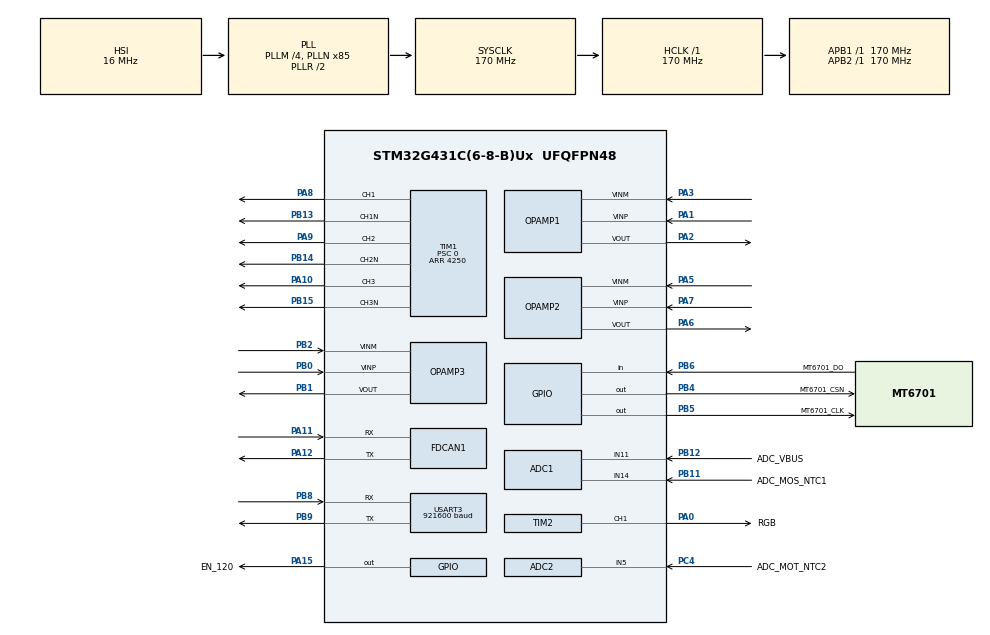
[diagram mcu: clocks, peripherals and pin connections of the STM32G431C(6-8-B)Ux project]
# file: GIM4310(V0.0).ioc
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ADC1.Channel-0\#ChannelRegularConversion=ADC_CHANNEL_11
ADC1.NbrOfConversionFlag=1
ADC1.OffsetNumber-0\#ChannelRegularConversion=ADC_OFFSET_NONE
ADC1.Rank-0\#ChannelRegularConversion=1
ADC1.SamplingTime-0\#ChannelRegularConversion=ADC_SAMPLETIME_2CYCLES_5
ADC1.master=1
ADC2.Channel-0\#ChannelRegularConversion=ADC_CHANNEL_5
ADC2.NbrOfConversionFlag=1
ADC2.OffsetNumber-0\#ChannelRegularConversion=ADC_OFFSET_NONE
ADC2.Rank-0\#ChannelRegularConversion=1
ADC2.SamplingTime-0\#ChannelRegularConversion=ADC_SAMPLETIME_2CYCLES_5
FDCAN1.CalculateBaudRateNominal=1000000
FDCAN1.CalculateTimeBitNominal=170
FDCAN1.CalculateTimeQuantumNominal=5.882352941176471
FDCAN1.FrameFormat=FDCAN_FRAME_CLASSIC
FDCAN1.Mode=FDCAN_MODE_NORMAL
FDCAN1.NominalPrescaler=5
FDCAN1.NominalSyncJumpWidth=4
FDCAN1.NominalTimeSeg1=29
FDCAN1.NominalTimeSeg2=4
Mcu.Family=STM32G4
Mcu.Name=STM32G431C(6-8-B)Ux
Mcu.Package=UFQFPN48
NVIC.PriorityGroup=NVIC_PRIORITYGROUP_4
NVIC.ADC1_2_IRQn=true\:1\:0\:false\:false\:true\:true\:true\:true
NVIC.DMA1_Channel2_IRQn=true\:7\:0\:false\:false\:true\:true\:true\:true
NVIC.DMA1_Channel3_IRQn=true\:8\:0\:false\:false\:true\:true\:true\:true
NVIC.FDCAN1_IT0_IRQn=true\:3\:0\:false\:false\:true\:true\:true\:true
NVIC.USART3_IRQn=true\:6\:0\:false\:false\:true\:true\:true\:true
PA0.GPIO_Label=RGB
PA0.Signal=S_TIM2_CH1
PA1.Mode=Standalone
PA1.Signal=OPAMP1_VINP
PA10.Signal=S_TIM1_CH3
PA11.Mode=FDCAN_Activate
PA11.Signal=FDCAN1_RX
PA12.Mode=FDCAN_Activate
PA12.Signal=FDCAN1_TX
PA13.Mode=Serial_Wire
PA13.Signal=SYS_JTMS-SWDIO
PA14.Mode=Serial_Wire
PA14.Signal=SYS_JTCK-SWCLK
PA15.GPIO_Label=EN_120
PA15.Signal=GPIO_Output
PA2.Mode=Standalone
PA2.Signal=OPAMP1_VOUT
PA3.Mode=Standalone
PA3.Signal=OPAMP1_VINM
PA5.Mode=Standalone
PA5.Signal=OPAMP2_VINM
PA6.Mode=Standalone
PA6.Signal=OPAMP2_VOUT
PA7.Mode=Standalone
PA7.Signal=OPAMP2_VINP
PA8.Signal=S_TIM1_CH1
PA9.Signal=S_TIM1_CH2
PB0.Mode=Standalone
PB0.Signal=OPAMP3_VINP
PB1.Mode=Standalone
PB1.Signal=OPAMP3_VOUT
PB11.GPIO_Label=ADC_MOS_NTC1
PB11.Mode=IN14-Single-Ended
PB11.Signal=ADC1_IN14
PB12.GPIO_Label=ADC_VBUS
PB12.Mode=IN11-Single-Ended
PB12.Signal=ADC1_IN11
PB13.Mode=PWM Generation1 CH1 CH1N
PB13.Signal=TIM1_CH1N
PB14.Mode=PWM Generation2 CH2 CH2N
PB14.Signal=TIM1_CH2N
PB15.Mode=PWM Generation3 CH3 CH3N
PB15.Signal=TIM1_CH3N
PB2.Mode=Standalone
PB2.Signal=OPAMP3_VINM
PB4.GPIO_Label=MT6701_CSN
PB4.Signal=GPIO_Output
PB5.GPIO_Label=MT6701_CLK
PB5.Signal=GPIO_Output
PB6.GPIO_Label=MT6701_DO
PB6.Signal=GPIO_Input
PB8-BOOT0.Mode=Asynchronous
PB8-BOOT0.Signal=USART3_RX
PB9.Mode=Asynchronous
PB9.Signal=USART3_TX
PC4.GPIO_Label=ADC_MOT_NTC2
PC4.Mode=IN5-Single-Ended
PC4.Signal=ADC2_IN5
PF0-OSC_IN.Mode=HSE-External-Oscillator
PF0-OSC_IN.Signal=RCC_OSC_IN
PF1-OSC_OUT.Mode=HSE-External-Oscillator
PF1-OSC_OUT.Signal=RCC_OSC_OUT
ProjectManager.HeapSize=0x200
ProjectManager.StackSize=0x400
ProjectManager.TargetToolchain=MDK-ARM V5.32
RCC.ADC12Freq_Value=170000000
RCC.AHBFreq_Value=170000000
RCC.APB1Freq_Value=170000000
RCC.APB1TimFreq_Value=170000000
RCC.APB2Freq_Value=170000000
RCC.APB2TimFreq_Value=170000000
RCC.CortexFreq_Value=170000000
RCC.EXTERNAL_CLOCK_VALUE=12288000
RCC.HCLKFreq_Value=170000000
RCC.HSE_VALUE=20000000
RCC.HSI48_VALUE=48000000
RCC.HSI_VALUE=16000000
RCC.LSE_VALUE=32768
RCC.PLLM=RCC_PLLM_DIV4
RCC.PLLN=85
RCC.SYSCLKFreq_VALUE=170000000
RCC.SYSCLKSource=RCC_SYSCLKSOURCE_PLLCLK
RCC.USBFreq_Value=170000000
RCC.VCOOutputFreq_Value=340000000
SH.S_TIM1_CH1.0=TIM1_CH1,PWM Generation1 CH1 CH1N
SH.S_TIM1_CH2.0=TIM1_CH2,PWM Generation2 CH2 CH2N
SH.S_TIM1_CH3.0=TIM1_CH3,PWM Generation3 CH3 CH3N
SH.S_TIM2_CH1.0=TIM2_CH1,PWM Generation1 CH1
TIM1.Channel-PWM\ Generation1\ CH1\ CH1N=TIM_CHANNEL_1
TIM1.Channel-PWM\ Generation2\ CH2\ CH2N=TIM_CHANNEL_2
TIM1.Channel-PWM\ Generation3\ CH3\ CH3N=TIM_CHANNEL_3
TIM1.ClockDivision=TIM_CLOCKDIVISION_DIV1
TIM1.CounterMode=TIM_COUNTERMODE_CENTERALIGNED1
TIM1.DeadTime=34
TIM1.Period=4250
TIM1.Prescaler=0
TIM1.RepetitionCounter=0
TIM2.Channel-PWM\ Generation1\ CH1=TIM_CHANNEL_1
TIM2.CounterMode=TIM_COUNTERMODE_UP
TIM2.Period=211
TIM2.Prescaler=0
USART3.BaudRate=921600
USART3.VirtualMode-Asynchronous=VM_ASYNC
VP_SYS_VS_DBSignals.Mode=DisableDeadBatterySignals
board=custom

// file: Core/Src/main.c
/* USER CODE BEGIN Header */
/**
  ******************************************************************************
  * @file           : main.c
  * @brief          : GIM4310 / GIM4305 关节电机控制器 外设自检例程
  ******************************************************************************
  * @attention
  *
  * 本工程为基于伺泰威 GIM4310 / GIM4305 关节电机控制器（STM32G431CBU6）的
  * 外设自检例程，用于上电后逐项验证，并以 VOFA+（JustFloat）为主要观测手段：
  *   - 电流采样（MCU 内部 OPAMP 差分放大，增益 24）
  *   - 母线电压采样
  *   - NTC 温度采样（MOS 管 / 电机绕组）
  *   - 磁编码器角度采样（MT6701，软件 SPI）
  *   - PWM 发波 / MOS 管开通关断
  *   - 串口 VOFA+ 上位机数据（USART3，921600，JustFloat，12 通道）
  *   - RGB 灯颜色控制（WS2812）
  *   - CAN 通讯（含 120R 终端电阻控制）
  *
  * ---------------------------------------------------------------------------
  * VOFA+ JustFloat 通道定义（波特率 921600，无校验，8 数据位，1 停止位）：
  *   ch0  Iu        U 相电流            [A]
  *   ch1  Iv        V 相电流            [A]
  *   ch2  Ibus      母线电流            [A]（低侧采样时刻≈0，仅诊断）
  *   ch3  Vbus      母线电压            [V]
  *   ch4  rotor     转子机械角（单圈）  [deg]
  *   ch5  elec      电角度              [deg]（极对数 14）
  *   ch6  dutyU     U 相高侧占空比      [0~1]
  *   ch7  dutyV     V 相高侧占空比      [0~1]
  *   ch8  dutyW     W 相高侧占空比      [0~1]
  *   ch9  Tmos      MOS 管温度          [C]
  *   ch10 Tmot      电机绕组温度        [C]
  *   ch11 canRxCnt  CAN 接收帧计数      [-]
  *   ch12 Iw        W 相电流（重构）    [A]（Iw = -(Iu+Iv)，三线制）
  *
  * 串口命令（普通终端或 VOFA 的 RAW 发送）：
  *   e  使能开环 PWM（旋转电压矢量）      d  封波
  *   a  循环切换开环幅值 3/6/9/15/25%      f  循环切换开环电频率 0.5/1/2/5Hz
  *   t  切换 CAN 120R 终端                s  立即发送一帧 CAN
  *   c  切换到下一种 RGB 颜色             r  重新标定 ADC 零流偏置
  *   v  切换 VOFA 数据流 / 文本状态模式    ?  立即打印一次状态
  *
  * 输出模式说明（重要）：
  *   - 默认 vofaStreamOn=1：只发送 JustFloat 二进制帧（500Hz），
  *     不输出任何周期性 ASCII 文本，保证 VOFA+ 解析稳定；
  *   - 发送 'v' 后关闭数据流并恢复 1Hz 文本状态打印，便于普通串口终端查看；
  *   - 发送 '?' 会立即插入一段文本，VOFA 波形会短暂跳变，属正常现象。
  ******************************************************************************
  */
/* USER CODE END Header */
#include "main.h"
#include "adc.h"
#include "fdcan.h"
#include "opamp.h"
#include "tim.h"
#include "usart.h"
#include "gpio.h"

/* USER CODE BEGIN Includes */
#include "board_config.h"
#include "bsp_clock.h"
#include "bsp_uart.h"
#include "bsp_vofa.h"
#include "bsp_pwm.h"
#include "bsp_adc.h"
#include "bsp_encoder.h"
#include "bsp_can.h"
#include "bsp_ws2812.h"
#include <math.h>
#include <string.h>
/* USER CODE END Includes */

/* USER CODE BEGIN PTD */
/**
  * @brief CAN 接收信息（便于后台打印/诊断）
  */
typedef struct
{
    uint32_t lastId;        /*!< 最近一帧的标准帧 ID */
    uint8_t  lastData[8];   /*!< 最近一帧数据 */
    uint8_t  lastLen;       /*!< 最近一帧长度 */
    uint32_t count;         /*!< 累计接收帧数（回调内自增） */
} CanRxInfoTypeDef;
/* USER CODE END PTD */

/* USER CODE BEGIN PD */
#define TEST_PI                 (3.14159265358979f)
#define TEST_TWO_PI             (6.28318530717959f)

#define TEST_OPENLOOP_HZ_IDX0   (0.5f)   /*!< 开环电频率档位 0 */
#define TEST_OPENLOOP_HZ_IDX1   (1.0f)   /*!< 开环电频率档位 1 */
#define TEST_OPENLOOP_HZ_IDX2   (2.0f)   /*!< 开环电频率档位 2 */
#define TEST_OPENLOOP_HZ_IDX3   (5.0f)   /*!< 开环电频率档位 3 */
/* 开环幅值档位：幅值越大 -> 相电压越高 -> 电流越大，便于用 VOFA 观察电流采样。
   25% 对应相电压约 0.25×Vbus（12V 时约 3V），注意电机温升与电源限流。 */
#define TEST_OPENLOOP_AMP_NUM   (5U)     /*!< 幅值档位数量 */
#define TEST_OPENLOOP_AMP_IDX0  (0.03f)  /*!< 档位 0：3%  占空比 */
#define TEST_OPENLOOP_AMP_IDX1  (0.06f)  /*!< 档位 1：6% */
#define TEST_OPENLOOP_AMP_IDX2  (0.09f)  /*!< 档位 2：9% */
#define TEST_OPENLOOP_AMP_IDX3  (0.15f)  /*!< 档位 3：15% */
#define TEST_OPENLOOP_AMP_IDX4  (0.25f)  /*!< 档位 4：25%（最大） */

#define TEST_VOFA_PERIOD_MS     (2U)     /*!< VOFA 上报周期（500Hz） */
#define TEST_TEMP_PERIOD_MS     (100U)   /*!< NTC 温度轮询周期（10Hz） */
#define TEST_STATUS_PERIOD_MS   (1000U)  /*!< 串口状态打印周期（1Hz） */
#define TEST_CAN_PERIOD_MS      (200U)   /*!< CAN 周期发送周期（5Hz） */
#define TEST_LED_PERIOD_MS      (700U)   /*!< RGB 颜色切换周期 */
/* USER CODE END PD */

/* USER CODE BEGIN PV */
static ENC_DataTypeDef    encData;       /*!< 编码器运行数据（单圈/多圈/状态） */
static ADC_FocMeasTypeDef adcMeas;       /*!< 最近一次电流/母线电压换算结果 */
static volatile CanRxInfoTypeDef canRx;  /*!< CAN 接收信息（ISR 更新） */

static uint8_t  openLoopOn = 0U;         /*!< 开环 PWM 测试使能 */
static uint8_t  vofaStreamOn = 1U;       /*!< VOFA 数据流使能（1=只发 JustFloat，0=发 1Hz 文本） */
static uint8_t  ledIndex   = 0U;         /*!< 当前灯色序号（0=绿） */
static uint8_t  ampIndex   = 1U;         /*!< 开环幅值档位（默认 6%） */
static uint8_t  freqIndex  = 1U;         /*!< 开环频率档位（默认 1Hz） */
static uint16_t canSeq     = 0U;         /*!< CAN 发送序号 */
static float    elecAngle  = 0.0f;       /*!< 开环电角度积分 [rad] */
static float    dutyU      = 0.0f;       /*!< 当前 U 相占空比（供 VOFA 观测） */
static float    dutyV      = 0.0f;       /*!< 当前 V 相占空比 */
static float    dutyW      = 0.0f;       /*!< 当前 W 相占空比 */
static float    tmosC      = 0.0f;       /*!< MOS 温度缓存 [C] */
static float    tmotC      = 0.0f;       /*!< 电机温度缓存 [C] */

static uint32_t lastVofaTick   = 0U;
static uint32_t lastTempTick   = 0U;
static uint32_t lastStatusTick = 0U;
static uint32_t lastCanTick    = 0U;
static uint32_t lastLedTick    = 0U;
/* USER CODE END PV */

void SystemClock_Config(void);
/* USER CODE BEGIN PFP */
static void APP_Init(void);
static void APP_Loop(void);
static void APP_HandleCommand(uint8_t cmd);
static void APP_SetLedByIndex(uint8_t idx);
static void APP_CanRxCallback(uint32_t id, const uint8_t *data, uint8_t len);
static void APP_UpdateTemps(void);
static void APP_ReportVofa(void);
static void APP_PrintStatus(void);
static float APP_OpenLoopAmp(void);
static float APP_OpenLoopFreq(void);
/* USER CODE END PFP */

/* USER CODE BEGIN 0 */

/**
  * @brief  读取当前开环幅值档位对应的占空比幅值
  */
static float APP_OpenLoopAmp(void)
{
    switch (ampIndex)
    {
        case 0U:  return TEST_OPENLOOP_AMP_IDX0;
        case 2U:  return TEST_OPENLOOP_AMP_IDX2;
        case 3U:  return TEST_OPENLOOP_AMP_IDX3;
        case 4U:  return TEST_OPENLOOP_AMP_IDX4;
        default:  return TEST_OPENLOOP_AMP_IDX1;
    }
}

/**
  * @brief  读取当前开环电频率档位对应的频率 [Hz]
  */
static float APP_OpenLoopFreq(void)
{
    switch (freqIndex)
    {
        case 0U:  return TEST_OPENLOOP_HZ_IDX0;
        case 2U:  return TEST_OPENLOOP_HZ_IDX2;
        case 3U:  return TEST_OPENLOOP_HZ_IDX3;
        default:  return TEST_OPENLOOP_HZ_IDX1;
    }
}

/**
  * @brief  CAN 接收回调（ISR 上下文）：记录最近一帧
  * @note   仅做轻量拷贝，不在此处做任何阻塞或打印。
  */
static void APP_CanRxCallback(uint32_t id, const uint8_t *data, uint8_t len)
{
    uint8_t i;

    canRx.lastId  = id;
    canRx.lastLen = (len > 8U) ? 8U : len;
    for (i = 0U; i < canRx.lastLen; i++)
    {
        canRx.lastData[i] = data[i];
    }
    canRx.count++;
}

/**
  * @brief  设置 RGB 灯色（循环色表：绿/红/蓝/白/黄/青/紫/灭）
  * @note   初始化完成默认绿色，便于一眼确认固件已运行。
  */
static void APP_SetLedByIndex(uint8_t idx)
{
    switch (idx % 8U)
    {
        case 0U: BSP_WS2812_SetColor(0U,   255U, 0U);   break;  /* 绿（默认） */
        case 1U: BSP_WS2812_SetColor(255U, 0U,   0U);   break;  /* 红 */
        case 2U: BSP_WS2812_SetColor(0U,   0U,   255U); break;  /* 蓝 */
        case 3U: BSP_WS2812_SetColor(255U, 255U, 255U); break;  /* 白 */
        case 4U: BSP_WS2812_SetColor(255U, 128U, 0U);   break;  /* 黄 */
        case 5U: BSP_WS2812_SetColor(0U,   255U, 255U); break;  /* 青 */
        case 6U: BSP_WS2812_SetColor(128U, 0U,   255U); break;  /* 紫 */
        default: BSP_WS2812_SetColor(0U,   0U,   0U);   break;  /* 灭 */
    }
}

/**
  * @brief  串口命令处理
  * @param  cmd 接收到的单字节命令
  */
static void APP_HandleCommand(uint8_t cmd)
{
    switch (cmd)
    {
        case 'e':
        case 'E':
            openLoopOn = 1U;
            BSP_PWM_Enable();
            BSP_UART_Printf("[CMD] PWM open-loop ENABLED (amp=%u%%, f=%.1fHz)\r\n",
                            (unsigned)(APP_OpenLoopAmp() * 100.0f), (double)APP_OpenLoopFreq());
            break;
        case 'd':
        case 'D':
            openLoopOn = 0U;
            dutyU = dutyV = dutyW = 0.0f;
            BSP_PWM_Disable();
            BSP_UART_Printf("[CMD] PWM DISABLED (MOE=0)\r\n");
            break;
        case 'a':
        case 'A':
            ampIndex = (uint8_t)((ampIndex + 1U) % TEST_OPENLOOP_AMP_NUM);
            BSP_UART_Printf("[CMD] open-loop amplitude = %u%%\r\n",
                            (unsigned)(APP_OpenLoopAmp() * 100.0f));
            break;
        case 'f':
        case 'F':
            freqIndex = (uint8_t)((freqIndex + 1U) % 4U);
            BSP_UART_Printf("[CMD] open-loop freq = %.1f Hz\r\n", (double)APP_OpenLoopFreq());
            break;
        case 't':
        case 'T':
            BSP_CAN_SetTermination((uint8_t)(BSP_CAN_GetTermination() ? 0U : 1U));
            BSP_UART_Printf("[CMD] CAN 120R termination = %u\r\n", BSP_CAN_GetTermination());
            break;
        case 's':
        case 'S':
        {
            uint8_t payload[8];
            payload[0] = 0x55U;
            payload[1] = 0xAAU;
            payload[2] = (uint8_t)canSeq;
            payload[3] = (uint8_t)(canSeq >> 8);
            payload[4] = 0U;
            payload[5] = 0U;
            payload[6] = 0U;
            payload[7] = 0U;
            (void)BSP_CAN_Send(BOARD_CAN_DEFAULT_NODE_ID, payload, 8U);
            BSP_UART_Printf("[CMD] CAN frame sent\r\n");
            break;
        }
        case 'c':
        case 'C':
            ledIndex++;
            APP_SetLedByIndex(ledIndex);
            BSP_UART_Printf("[CMD] RGB index = %u\r\n", ledIndex);
            break;
        case 'r':
        case 'R':
            /* 零点标定必须在封波、无电流条件下进行，否则会把运行电流误当作偏置 */
            if (BSP_PWM_IsEnabled() != 0U)
            {
                BSP_UART_Printf("[CMD] ADC offset re-cal rejected: disable PWM first (send 'd')\r\n");
            }
            else if (BSP_ADC_MeasureOffsets(256U) == HAL_OK)
            {
                float offU;
                float offV;
                float offBus;
                BSP_ADC_GetOffsets(&offU, &offV, &offBus);
                BSP_UART_Printf("[CMD] ADC offsets re-calibrated: Iu=%.0f Iv=%.0f Ibus=%.0f\r\n",
                                (double)offU, (double)offV, (double)offBus);
            }
            else
            {
                BSP_UART_Printf("[CMD] ADC offset re-cal FAILED (check bridges off)\r\n");
            }
            break;
        case 'v':
        case 'V':
            vofaStreamOn = (uint8_t)((vofaStreamOn != 0U) ? 0U : 1U);
            if (vofaStreamOn == 0U)
            {
                /* 关闭数据流后才打印文本，避免污染 JustFloat 帧 */
                BSP_UART_Printf("[CMD] VOFA stream OFF, text status 1Hz ON\r\n");
            }
            break;
        case '?':
            APP_PrintStatus();
            break;
        default:
            break;
    }
}

/**
  * @brief  轮询读取两路 NTC 温度并缓存（低频调用，避免占用 500Hz 上报带宽）
  */
static void APP_UpdateTemps(void)
{
    tmosC = BSP_ADC_ReadMosTemp();
    tmotC = BSP_ADC_ReadMotorTemp();
}

/**
  * @brief  填充并发送一帧 VOFA+ JustFloat 数据（12 通道，见文件头注释）
  */
static void APP_ReportVofa(void)
{
    float rotorDeg;
    float elecDeg;

    /* 电流/母线电压：由 ADC 注入组 ISR 更新 */
    BSP_ADC_GetLastMeas(&adcMeas);

    /* 机械角（单圈）与电角度 */
    rotorDeg = (float)encData.Raw * 360.0f / (float)ENC_CPR;
    elecDeg  = fmodf(rotorDeg * 14.0f, 360.0f);   /* 极对数 14 */

    BSP_VOFA_SetChannel(0U,  adcMeas.Iu);
    BSP_VOFA_SetChannel(1U,  adcMeas.Iv);
    BSP_VOFA_SetChannel(2U,  adcMeas.Ibus);
    BSP_VOFA_SetChannel(3U,  adcMeas.Vbus);
    BSP_VOFA_SetChannel(4U,  rotorDeg);
    BSP_VOFA_SetChannel(5U,  elecDeg);
    BSP_VOFA_SetChannel(6U,  dutyU);
    BSP_VOFA_SetChannel(7U,  dutyV);
    BSP_VOFA_SetChannel(8U,  dutyW);
    BSP_VOFA_SetChannel(9U,  tmosC);
    BSP_VOFA_SetChannel(10U, tmotC);
    BSP_VOFA_SetChannel(11U, (float)BSP_CAN_GetRxCount());
    BSP_VOFA_SetChannel(12U, adcMeas.Iw);   /* W 相电流（由 Iu+Iv 重构） */

    BSP_VOFA_Send();
}

/**
  * @brief  串口打印一次完整状态（也用于排查初始化是否成功）
  */
static void APP_PrintStatus(void)
{
    float offU;
    float offV;
    float offBus;

    BSP_ADC_GetLastMeas(&adcMeas);
    BSP_ADC_GetOffsets(&offU, &offV, &offBus);

    BSP_UART_Printf("\r\n===== GIM4310/4305 DEMO STATUS =====\r\n");
    BSP_UART_Printf("clock        : %s\r\n", BSP_CLOCK_IsHse() ? "HSE 20MHz" : "HSI 16MHz");
    BSP_UART_Printf("adc offset   : Iu=%.0f Iv=%.0f Ibus=%.0f [LSB] (mid-scale=2048)\r\n",
                    (double)offU, (double)offV, (double)offBus);
    BSP_UART_Printf("adc raw      : U=%u IBUS=%u VBUS=%u V=%u [LSB]\r\n",
                    (unsigned)adcMeas.RawU, (unsigned)adcMeas.RawIbus,
                    (unsigned)adcMeas.RawVbus, (unsigned)adcMeas.RawV);
    BSP_UART_Printf("current      : Iu=%+.3f Iv=%+.3f Iw=%+.3f Ibus=%+.3f A (sat=%u)\r\n",
                    (double)adcMeas.Iu, (double)adcMeas.Iv, (double)adcMeas.Iw,
                    (double)adcMeas.Ibus, adcMeas.CurSat);
    BSP_UART_Printf("vbus         : %.2f V\r\n", (double)adcMeas.Vbus);

    /* 电流采样前端体检：零流偏置应约等于半量程(2048)。
       若明显贴近某一轨（<500 或 >3600），说明运放零流输出已饱和，
       常见原因是差分放大器的偏置网络阻值不匹配
       （要求 R40‖R41 = 反馈电阻 R39，实物 R40=R41=10k 时并联仅 5k，
        正确应约 47k~48k）。此时电流读数会恒≈0，需硬件整改。 */
    if ((offU < 500.0f) || (offU > 3600.0f) ||
        (offV < 500.0f) || (offV > 3600.0f))
    {
        BSP_UART_Printf("[WARN] CSA zero-current offset near rail -> "
                        "current sampling saturated; check bias resistors R40/R41 (should be ~47k)\r\n");
    }
    BSP_UART_Printf("temp         : MOS=%.1f C  MOTOR=%.1f C\r\n", (double)tmosC, (double)tmotC);
    BSP_UART_Printf("encoder      : raw=%u turns=%ld status=%d crc_err=%lu field_err=%lu\r\n",
                    encData.Raw, (long)encData.Turns, (int)encData.Status,
                    (unsigned long)encData.CrcErrCnt, (unsigned long)encData.FieldErrCnt);
    BSP_UART_Printf("pwm          : %s  duties=%.2f/%.2f/%.2f\r\n",
                    BSP_PWM_IsEnabled() ? "ENABLED" : "disabled",
                    (double)dutyU, (double)dutyV, (double)dutyW);
    BSP_UART_Printf("can          : rx=%lu err=%lu term=%u lastId=0x%03lX\r\n",
                    (unsigned long)BSP_CAN_GetRxCount(), (unsigned long)BSP_CAN_GetErrCount(),
                    BSP_CAN_GetTermination(), (unsigned long)canRx.lastId);
    BSP_UART_Printf("foc irq cnt  : %lu\r\n", (unsigned long)BSP_ADC_GetIrqCount());
    BSP_UART_Printf("cmd: e/d/a/f/t/s/c/r/v/?  (v=VOFA stream on/off)\r\n");
}

/**
  * @brief  应用初始化：按依赖顺序初始化各外设 BSP
  * @note   CubeMX 的 MX_*_Init 已完成外设时钟/引脚，本函数负责“板级真实参数”重配。
  */
static void APP_Init(void)
{
    /* 1) 时钟切换到板载 20MHz 晶振（提升 CAN 位时序精度；失败自动回退 HSI） */
    (void)BSP_CLOCK_SwitchToHse();

    /* 2) 调试串口 921600 + VOFA 数据帧 */
    BSP_UART_Init();
    BSP_VOFA_Init();
    BSP_UART_Printf("\r\n\r\n*** GIM4310/4305 peripheral self-test DEMO ***\r\n");
    BSP_UART_Printf("SYSCLK=%lu Hz, source=%s\r\n",
                    (unsigned long)HAL_RCC_GetHCLKFreq(),
                    BSP_CLOCK_IsHse() ? "HSE" : "HSI");
    /* 串口自检信息：正常时 BRR 应与 170MHz/921600 匹配（约 0x0B87）。
       若此处乱码，说明终端波特率不是 921600。 */
    BSP_UART_Printf("USART3: %lu bps, BRR=0x%04lX, JustFloat 12ch\r\n",
                    (unsigned long)huart3.Init.BaudRate,
                    (unsigned long)(huart3.Instance->BRR & 0xFFFFU));
    BSP_UART_Printf(">>> VOFA streaming ON (text muted). Send 'v' to switch to text mode.\r\n");

    /* 3) PWM：先让 TIM1 计数器运行（为 ADC 提供 TRGO2 触发），输出保持封波 */
    BSP_PWM_Init();

    /* 4) ADC + 内部运放电流采样 + NTC/母线电压；随后标定零流偏置 */
    BSP_ADC_Init();
    {
        /* 无论返回成功与否都把实测偏置打印出来（便于诊断前端电路） */
        uint8_t offOk = (BSP_ADC_MeasureOffsets(256U) == HAL_OK) ? 1U : 0U;
        float offU;
        float offV;
        float offBus;
        BSP_ADC_GetOffsets(&offU, &offV, &offBus);
        BSP_UART_Printf("ADC zero offset: Iu=%.0f Iv=%.0f Ibus=%.0f [LSB] (ok=%u, mid-scale=2048)\r\n",
                        (double)offU, (double)offV, (double)offBus, offOk);
        if (offOk == 0U)
        {
            BSP_UART_Printf("[WARN] offset out of range -> current front-end likely saturated.\r\n");
        }
    }

    /* 5) 磁编码器（软件 SPI）；MT6701 上电最大 32ms 就绪，故延时后预载 */
    BSP_ENC_Init();
    HAL_Delay(35U);
    BSP_ENC_Preload(&encData);

    /* 6) CAN：默认 1Mbps 且接入 120R 终端 */
    BSP_CAN_RegisterRxCallback(APP_CanRxCallback);
    BSP_CAN_Init(CAN_BAUD_1M, BOARD_CAN_DEFAULT_NODE_ID);

    /* 7) WS2812 RGB，初始化完成亮绿色 */
    BSP_WS2812_Init();
    ledIndex = 0U;
    APP_SetLedByIndex(ledIndex);
    BSP_WS2812_Poll();

    /* 8) 使能 ADC JEOS 中断节拍（本自检只做数据采集，回调传 NULL） */
    BSP_ADC_StartFocIrq(NULL);

    /* 9) 首次温度采样 */
    APP_UpdateTemps();

    BSP_UART_Printf("init done. cmd: e=enablePWM d=disable a=amp f=freq r=recal v=vofa/term ?=status\r\n");
}

/**
  * @brief  应用主循环（前后台调度）
  * @note   各任务节拍：命令/编码器每轮；VOFA 2ms；温度 100ms；CAN 200ms；
  *         RGB 700ms；状态打印 1s；开环 PWM 每轮（按实际 dt 积分）。
  */
static void APP_Loop(void)
{
    static uint32_t lastLoopTick = 0U;
    uint32_t now = HAL_GetTick();
    int32_t  ch;

    /* ---- 串口命令（非阻塞取完所有已收字节） ---- */
    while ((ch = BSP_UART_ReadByte()) >= 0)
    {
        APP_HandleCommand((uint8_t)ch);
    }

    /* ---- 编码器：每轮读取一次，供 VOFA/状态显示共用 ---- */
    {
        ENC_DataTypeDef local = encData;
        (void)BSP_ENC_Read(&local);
        encData = local;
    }

    /* ---- NTC 温度：100ms ---- */
    if ((now - lastTempTick) >= TEST_TEMP_PERIOD_MS)
    {
        lastTempTick = now;
        APP_UpdateTemps();
    }

    /* ---- RGB 颜色循环：700ms（开环演示时保持不变以便观察） ---- */
    if ((now - lastLedTick) >= TEST_LED_PERIOD_MS)
    {
        lastLedTick = now;
        if (openLoopOn == 0U)
        {
            ledIndex++;
            APP_SetLedByIndex(ledIndex);
        }
    }
    BSP_WS2812_Poll();

    /* ---- 开环 PWM 旋转电压矢量（验证 PWM 发波 / MOS 开通关断） ----
       生成三相 120° 相位差的正弦占空比，使能 MOE 后可在示波器/相电压上
       观察到旋转磁场；VOFA 的 ch6~ch8 同步显示三相占空比。 */
    if (openLoopOn != 0U)
    {
        float dt = (float)(now - lastLoopTick) / 1000.0f;   /* 主循环实际步长 [s] */
        float amp = APP_OpenLoopAmp();
        float freq = APP_OpenLoopFreq();

        if (dt > 0.05f)
        {
            dt = 0.05f;                                     /* 限幅，避免偶发长阻塞导致角度跳变 */
        }

        elecAngle += TEST_TWO_PI * freq * dt;
        if (elecAngle >= TEST_TWO_PI)
        {
            elecAngle -= TEST_TWO_PI;
        }

        dutyU = 0.5f + amp * sinf(elecAngle);
        dutyV = 0.5f + amp * sinf(elecAngle - (2.0f * TEST_PI / 3.0f));
        dutyW = 0.5f + amp * sinf(elecAngle + (2.0f * TEST_PI / 3.0f));
        BSP_PWM_SetDuty(dutyU, dutyV, dutyW);
    }

    /* ---- CAN 周期发送测试帧（ID=1，帧头 0x55 0xAA + 序号 + 电流环计数低字节） ---- */
    if ((now - lastCanTick) >= TEST_CAN_PERIOD_MS)
    {
        uint8_t payload[8];
        lastCanTick = now;
        payload[0] = 0x55U;
        payload[1] = 0xAAU;
        payload[2] = (uint8_t)canSeq;
        payload[3] = (uint8_t)(canSeq >> 8);
        payload[4] = (uint8_t)(BSP_ADC_GetIrqCount() & 0xFFU);
        payload[5] = 0U;
        payload[6] = 0U;
        payload[7] = 0U;
        (void)BSP_CAN_Send(BOARD_CAN_DEFAULT_NODE_ID, payload, 8U);
        canSeq++;
    }

    /* ---- VOFA+ 上报：2ms（500Hz，仅在数据流开启时） ---- */
    if ((vofaStreamOn != 0U) && ((now - lastVofaTick) >= TEST_VOFA_PERIOD_MS))
    {
        lastVofaTick = now;
        APP_ReportVofa();
    }

    /* ---- 串口文本状态：1s（仅在数据流关闭时，避免污染 JustFloat 帧） ---- */
    if ((vofaStreamOn == 0U) && ((now - lastStatusTick) >= TEST_STATUS_PERIOD_MS))
    {
        lastStatusTick = now;
        APP_PrintStatus();
    }

    lastLoopTick = now;
}
/* USER CODE END 0 */

int main(void)
{
  /* USER CODE BEGIN 1 */
  /* 显式设置向量表基址（双保险）：
     CubeMX 默认不设置 SCB->VTOR，依赖“地址 0 的启动别名”。本板 PB8=BOOT0
     与 USART3_RX 共用引脚，若上电瞬间 BOOT0 为高电平，地址 0 会别名到 ROM，
     导致所有中断向量取自系统 Bootloader。此处固定指向 Flash，保证正确。 */
  SCB->VTOR = FLASH_BASE;
  /* USER CODE END 1 */

  /* MCU Configuration--------------------------------------------------------*/

  /* Reset of all peripherals, Initializes the Flash interface and the Systick. */
  HAL_Init();

  /* Configure the system clock */
  SystemClock_Config();

  /* Initialize all configured peripherals */
  MX_GPIO_Init();
  MX_ADC1_Init();
  MX_ADC2_Init();
  MX_FDCAN1_Init();
  MX_OPAMP1_Init();
  MX_OPAMP2_Init();
  MX_OPAMP3_Init();
  MX_TIM1_Init();
  MX_TIM2_Init();
  MX_USART3_UART_Init();
  /* USER CODE BEGIN 2 */
  APP_Init();
  /* USER CODE END 2 */

  /* Infinite loop */
  /* USER CODE BEGIN WHILE */
  while (1)
  {
    APP_Loop();
    /* USER CODE END WHILE */

  }
}

void SystemClock_Config(void)
{
  RCC_OscInitTypeDef RCC_OscInitStruct = {0};
  RCC_ClkInitTypeDef RCC_ClkInitStruct = {0};

  /** Configure the main internal regulator output voltage
  */
  HAL_PWREx_ControlVoltageScaling(PWR_REGULATOR_VOLTAGE_SCALE1_BOOST);

  /** Initializes the RCC Oscillators according to the specified parameters
  * in the RCC_OscInitTypeDef structure.
  */
  RCC_OscInitStruct.OscillatorType = RCC_OSCILLATORTYPE_HSI;
  RCC_OscInitStruct.HSIState = RCC_HSI_ON;
  RCC_OscInitStruct.HSICalibrationValue = RCC_HSICALIBRATION_DEFAULT;
  RCC_OscInitStruct.PLL.PLLState = RCC_PLL_ON;
  RCC_OscInitStruct.PLL.PLLSource = RCC_PLLSOURCE_HSI;
  RCC_OscInitStruct.PLL.PLLM = RCC_PLLM_DIV4;
  RCC_OscInitStruct.PLL.PLLN = 85;
  RCC_OscInitStruct.PLL.PLLP = RCC_PLLP_DIV2;
  RCC_OscInitStruct.PLL.PLLQ = RCC_PLLQ_DIV2;
  RCC_OscInitStruct.PLL.PLLR = RCC_PLLR_DIV2;
  if (HAL_RCC_OscConfig(&RCC_OscInitStruct) != HAL_OK)
  {
    Error_Handler();
  }

  /** Initializes the CPU, AHB and APB buses clocks
  */
  RCC_ClkInitStruct.ClockType = RCC_CLOCKTYPE_HCLK|RCC_CLOCKTYPE_SYSCLK
                              |RCC_CLOCKTYPE_PCLK1|RCC_CLOCKTYPE_PCLK2;
  RCC_ClkInitStruct.SYSCLKSource = RCC_SYSCLKSOURCE_PLLCLK;
  RCC_ClkInitStruct.AHBCLKDivider = RCC_SYSCLK_DIV1;
  RCC_ClkInitStruct.APB1CLKDivider = RCC_HCLK_DIV1;
  RCC_ClkInitStruct.APB2CLKDivider = RCC_HCLK_DIV1;

  if (HAL_RCC_ClockConfig(&RCC_ClkInitStruct, FLASH_LATENCY_4) != HAL_OK)
  {
    Error_Handler();
  }
}

void Error_Handler(void)
{
  /* USER CODE BEGIN Error_Handler_Debug */
  /* 异常时先封波，输出高阻，避免功率管误动作 */
  TIM1->BDTR &= ~TIM_BDTR_MOE;
  __disable_irq();
  while (1)
  {
  }
  /* USER CODE END Error_Handler_Debug */
}
